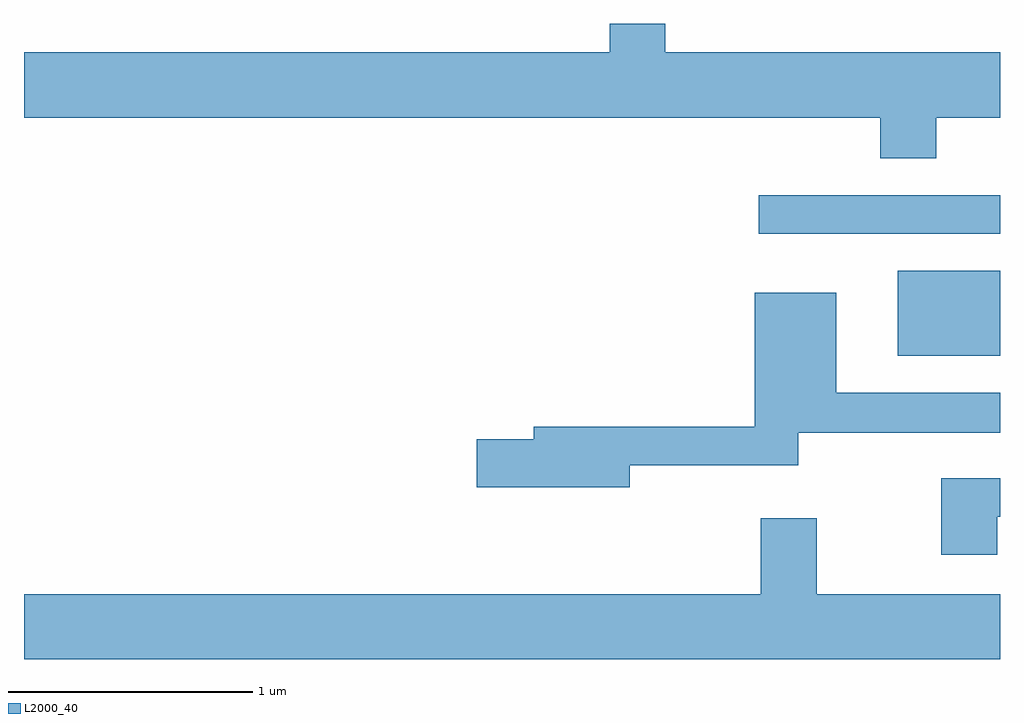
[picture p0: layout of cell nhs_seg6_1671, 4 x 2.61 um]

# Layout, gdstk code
import gdstk
lib = gdstk.Library(unit=1e-6, precision=1e-09)
def R(c, l, rs):  # rectangles x0, y0, x1, y1
    for r in rs: c.add(gdstk.rectangle(r[:2], r[2:], *l))
def P(c, l, *ps):  # polygons
    for p in ps: c.add(gdstk.Polygon(p, *l))
L2000_40 = (2000, 40)

nhs_seg6_1671 = lib.new_cell('nhs_seg6_1671')
R(nhs_seg6_1671, L2000_40, [(239.191,1586.801,239.611,1587.149), (238.623,1587.301,239.611,1587.459)])
P(nhs_seg6_1671, L2000_40, [(239.349,1587.776),(239.611,1587.776),(239.611,1588.044),(238.239,1588.044),(238.239,1588.162),(238.011,1588.162),(238.011,1588.044),(235.611,1588.044),(235.611,1587.776),(239.121,1587.776),(239.121,1587.611),(239.349,1587.611)],
  [(238.094,1586.351),(238.784,1586.351),(238.784,1586.486),(239.611,1586.486),(239.611,1586.649),(238.939,1586.649),(238.939,1587.059),(238.606,1587.059),(238.606,1586.509),(237.701,1586.509),(237.701,1586.459),(237.466,1586.459),(237.466,1586.261),(238.094,1586.261)],
  [(239.599,1586.141),(239.611,1586.141),(239.611,1586.299),(239.371,1586.299),(239.371,1585.986),(239.599,1585.986)],
  [(239.611,1585.824),(238.859,1585.824),(238.859,1586.134),(238.631,1586.134),(238.631,1585.824),(235.611,1585.824),(235.611,1585.556),(239.611,1585.556)])

lib.write_gds('nhs_seg6_1671.gds')
